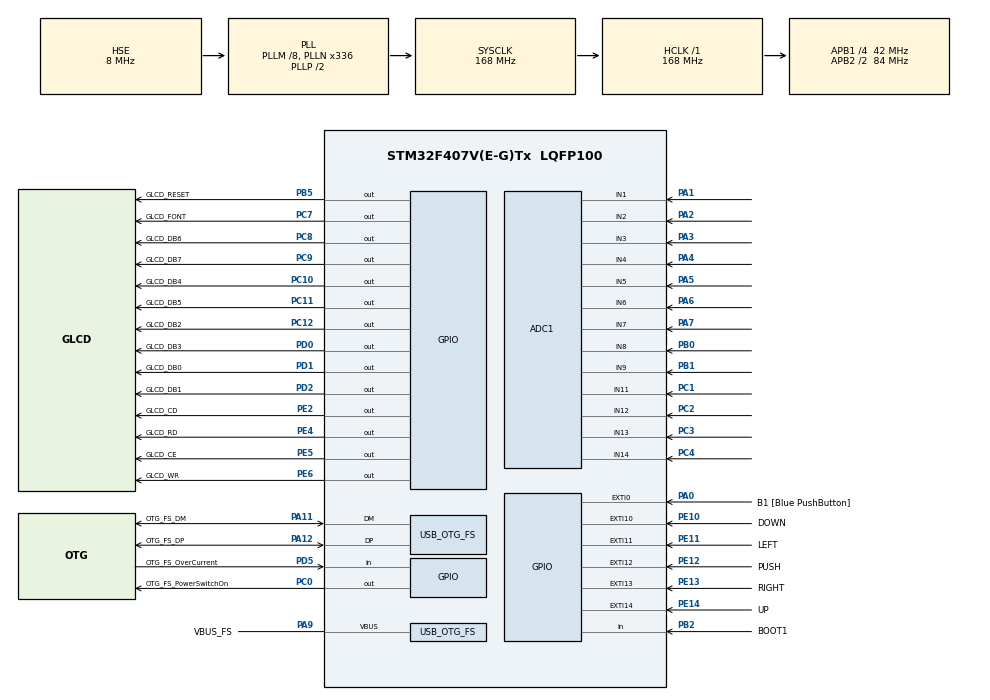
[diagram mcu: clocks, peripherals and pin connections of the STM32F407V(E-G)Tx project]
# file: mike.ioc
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ADC1.Channel-0\#ChannelRegularConversion=ADC_CHANNEL_1
ADC1.Channel-1\#ChannelRegularConversion=ADC_CHANNEL_2
ADC1.Channel-10\#ChannelRegularConversion=ADC_CHANNEL_12
ADC1.Channel-11\#ChannelRegularConversion=ADC_CHANNEL_13
ADC1.Channel-12\#ChannelRegularConversion=ADC_CHANNEL_14
ADC1.Channel-2\#ChannelRegularConversion=ADC_CHANNEL_3
ADC1.Channel-3\#ChannelRegularConversion=ADC_CHANNEL_4
ADC1.Channel-4\#ChannelRegularConversion=ADC_CHANNEL_5
ADC1.Channel-5\#ChannelRegularConversion=ADC_CHANNEL_6
ADC1.Channel-6\#ChannelRegularConversion=ADC_CHANNEL_7
ADC1.Channel-7\#ChannelRegularConversion=ADC_CHANNEL_8
ADC1.Channel-8\#ChannelRegularConversion=ADC_CHANNEL_9
ADC1.Channel-9\#ChannelRegularConversion=ADC_CHANNEL_11
ADC1.ContinuousConvMode=DISABLE
ADC1.DMAContinuousRequests=ENABLE
ADC1.EOCSelection=ADC_EOC_SEQ_CONV
ADC1.EnableAnalogWatchDog=false
ADC1.NbrOfConversion=13
ADC1.NbrOfConversionFlag=1
ADC1.Rank-0\#ChannelRegularConversion=1
ADC1.Rank-1\#ChannelRegularConversion=2
ADC1.Rank-10\#ChannelRegularConversion=11
ADC1.Rank-11\#ChannelRegularConversion=12
ADC1.Rank-12\#ChannelRegularConversion=13
ADC1.Rank-2\#ChannelRegularConversion=3
ADC1.Rank-3\#ChannelRegularConversion=4
ADC1.Rank-4\#ChannelRegularConversion=5
ADC1.Rank-5\#ChannelRegularConversion=6
ADC1.Rank-6\#ChannelRegularConversion=7
ADC1.Rank-7\#ChannelRegularConversion=8
ADC1.Rank-8\#ChannelRegularConversion=9
ADC1.Rank-9\#ChannelRegularConversion=10
ADC1.SamplingTime-0\#ChannelRegularConversion=ADC_SAMPLETIME_480CYCLES
ADC1.SamplingTime-1\#ChannelRegularConversion=ADC_SAMPLETIME_480CYCLES
ADC1.SamplingTime-10\#ChannelRegularConversion=ADC_SAMPLETIME_480CYCLES
ADC1.SamplingTime-11\#ChannelRegularConversion=ADC_SAMPLETIME_480CYCLES
ADC1.SamplingTime-12\#ChannelRegularConversion=ADC_SAMPLETIME_480CYCLES
ADC1.SamplingTime-2\#ChannelRegularConversion=ADC_SAMPLETIME_480CYCLES
ADC1.SamplingTime-3\#ChannelRegularConversion=ADC_SAMPLETIME_480CYCLES
ADC1.SamplingTime-4\#ChannelRegularConversion=ADC_SAMPLETIME_480CYCLES
ADC1.SamplingTime-5\#ChannelRegularConversion=ADC_SAMPLETIME_480CYCLES
ADC1.SamplingTime-6\#ChannelRegularConversion=ADC_SAMPLETIME_480CYCLES
ADC1.SamplingTime-7\#ChannelRegularConversion=ADC_SAMPLETIME_480CYCLES
ADC1.SamplingTime-8\#ChannelRegularConversion=ADC_SAMPLETIME_480CYCLES
ADC1.SamplingTime-9\#ChannelRegularConversion=ADC_SAMPLETIME_480CYCLES
ADC1.ScanConvMode=ENABLE
ADC1.master=1
Dma.ADC1.0.Direction=DMA_PERIPH_TO_MEMORY
Dma.ADC1.0.FIFOMode=DMA_FIFOMODE_DISABLE
Dma.ADC1.0.Instance=DMA2_Stream0
Dma.ADC1.0.MemDataAlignment=DMA_MDATAALIGN_HALFWORD
Dma.ADC1.0.MemInc=DMA_MINC_ENABLE
Dma.ADC1.0.Mode=DMA_NORMAL
Dma.ADC1.0.PeriphDataAlignment=DMA_PDATAALIGN_HALFWORD
Dma.ADC1.0.PeriphInc=DMA_PINC_DISABLE
Dma.ADC1.0.Priority=DMA_PRIORITY_LOW
Dma.Request0=ADC1
Mcu.Family=STM32F4
Mcu.Name=STM32F407V(E-G)Tx
Mcu.Package=LQFP100
NVIC.DMA2_Stream0_IRQn=true\:0\:1\:true\:false\:true\:false\:true\:true
NVIC.EXTI15_10_IRQn=true\:3\:0\:true\:false\:true\:true\:true\:true
NVIC.OTG_FS_IRQn=true\:0\:2\:true\:false\:true\:true\:true\:true
NVIC.PriorityGroup=NVIC_PRIORITYGROUP_2
NVIC.TIM2_IRQn=true\:2\:0\:true\:false\:true\:true\:true\:true
NVIC.TIM3_IRQn=true\:3\:1\:true\:false\:true\:true\:true\:true
NVIC.TIM6_DAC_IRQn=true\:1\:0\:true\:false\:true\:true\:true\:true
PA0-WKUP.GPIO_Label=B1 [Blue PushButton]
PA0-WKUP.GPIO_ModeDefaultEXTI=GPIO_MODE_EVT_RISING
PA0-WKUP.GPIO_PuPd=GPIO_NOPULL
PA0-WKUP.Signal=GPXTI0
PA1.Signal=ADCx_IN1
PA10.GPIO_Label=OTG_FS_ID
PA10.GPIO_Mode=GPIO_MODE_AF_PP
PA10.GPIO_PuPd=GPIO_NOPULL
PA10.GPIO_Speed=GPIO_SPEED_FREQ_LOW
PA10.Signal=USB_OTG_FS_ID
PA11.GPIO_Label=OTG_FS_DM
PA11.GPIO_Mode=GPIO_MODE_AF_PP
PA11.GPIO_PuPd=GPIO_NOPULL
PA11.GPIO_Speed=GPIO_SPEED_FREQ_LOW
PA11.Mode=Host_Only
PA11.Signal=USB_OTG_FS_DM
PA12.GPIO_Label=OTG_FS_DP
PA12.GPIO_Mode=GPIO_MODE_AF_PP
PA12.GPIO_PuPd=GPIO_NOPULL
PA12.GPIO_Speed=GPIO_SPEED_FREQ_LOW
PA12.Mode=Host_Only
PA12.Signal=USB_OTG_FS_DP
PA13.GPIO_Label=SWDIO
PA13.Mode=Serial_Wire
PA13.Signal=SYS_JTMS-SWDIO
PA14.GPIO_Label=SWCLK
PA14.Mode=Serial_Wire
PA14.Signal=SYS_JTCK-SWCLK
PA2.Signal=ADCx_IN2
PA3.Signal=ADCx_IN3
PA4.Signal=ADCx_IN4
PA5.Signal=ADCx_IN5
PA6.Signal=ADCx_IN6
PA7.Signal=ADCx_IN7
PA9.GPIO_Label=VBUS_FS
PA9.GPIO_Mode=GPIO_MODE_INPUT
PA9.GPIO_PuPd=GPIO_NOPULL
PA9.Mode=Activate_VBUS
PA9.Signal=USB_OTG_FS_VBUS
PB0.Signal=ADCx_IN8
PB1.Signal=ADCx_IN9
PB10.Signal=I2C2_SCL
PB11.Signal=I2C2_SDA
PB12.Signal=SPI2_NSS
PB13.Signal=SPI2_SCK
PB14.Signal=SPI2_MISO
PB15.Signal=SPI2_MOSI
PB2.GPIO_Label=BOOT1
PB2.GPIO_Mode=GPIO_MODE_INPUT
PB2.GPIO_PuPd=GPIO_NOPULL
PB2.Signal=GPIO_Input
PB3.GPIO_Label=SWO
PB3.Signal=SYS_JTDO-SWO
PB5.GPIO_Label=GLCD_RESET
PB5.Signal=GPIO_Output
PC0.GPIO_Label=OTG_FS_PowerSwitchOn
PC0.GPIO_PuPd=GPIO_NOPULL
PC0.GPIO_Speed=GPIO_SPEED_FREQ_LOW
PC0.PinState=GPIO_PIN_SET
PC0.Signal=GPIO_Output
PC1.Signal=ADCx_IN11
PC10.GPIO_Label=GLCD_DB4
PC10.Signal=GPIO_Output
PC11.GPIO_Label=GLCD_DB5
PC11.Signal=GPIO_Output
PC12.GPIO_Label=GLCD_DB2
PC12.Signal=GPIO_Output
PC14-OSC32_IN.GPIO_Label=PC14-OSC32_IN
PC14-OSC32_IN.Mode=LSE-External-Oscillator
PC14-OSC32_IN.Signal=RCC_OSC32_IN
PC15-OSC32_OUT.GPIO_Label=PC15-OSC32_OUT
PC15-OSC32_OUT.Mode=LSE-External-Oscillator
PC15-OSC32_OUT.Signal=RCC_OSC32_OUT
PC2.Signal=ADCx_IN12
PC3.Signal=ADCx_IN13
PC4.Signal=ADCx_IN14
PC7.GPIO_Label=GLCD_FONT
PC7.Signal=GPIO_Output
PC8.GPIO_Label=GLCD_DB6
PC8.Signal=GPIO_Output
PC9.GPIO_Label=GLCD_DB7
PC9.Signal=GPIO_Output
PD0.GPIO_Label=GLCD_DB3
PD0.Signal=GPIO_Output
PD1.GPIO_Label=GLCD_DB0
PD1.Signal=GPIO_Output
PD2.GPIO_Label=GLCD_DB1
PD2.Signal=GPIO_Output
PD5.GPIO_Label=OTG_FS_OverCurrent
PD5.GPIO_Mode=GPIO_MODE_INPUT
PD5.GPIO_PuPd=GPIO_NOPULL
PD5.Signal=GPIO_Input
PE10.GPIO_Label=DOWN
PE10.GPIO_PuPd=GPIO_PULLUP
PE10.Signal=GPXTI10
PE11.GPIO_Label=LEFT
PE11.GPIO_PuPd=GPIO_PULLUP
PE11.Signal=GPXTI11
PE12.GPIO_Label=PUSH
PE12.GPIO_PuPd=GPIO_PULLUP
PE12.Signal=GPXTI12
PE13.GPIO_Label=RIGHT
PE13.GPIO_PuPd=GPIO_PULLUP
PE13.Signal=GPXTI13
PE14.GPIO_Label=UP
PE14.GPIO_PuPd=GPIO_PULLUP
PE14.Signal=GPXTI14
PE2.GPIO_Label=GLCD_CD
PE2.Signal=GPIO_Output
PE4.GPIO_Label=GLCD_RD
PE4.PinState=GPIO_PIN_SET
PE4.Signal=GPIO_Output
PE5.GPIO_Label=GLCD_CE
PE5.Signal=GPIO_Output
PE6.GPIO_Label=GLCD_WR
PE6.Signal=GPIO_Output
PH0-OSC_IN.GPIO_Label=PH0-OSC_IN
PH0-OSC_IN.Mode=HSE-External-Oscillator
PH0-OSC_IN.Signal=RCC_OSC_IN
PH1-OSC_OUT.GPIO_Label=PH1-OSC_OUT
PH1-OSC_OUT.Mode=HSE-External-Oscillator
PH1-OSC_OUT.Signal=RCC_OSC_OUT
ProjectManager.HeapSize=0x200
ProjectManager.StackSize=0x400
ProjectManager.TargetToolchain=STM32CubeIDE
RCC.48MHZClocksFreq_Value=48000000
RCC.AHBFreq_Value=168000000
RCC.APB1CLKDivider=RCC_HCLK_DIV4
RCC.APB1Freq_Value=42000000
RCC.APB1TimFreq_Value=84000000
RCC.APB2CLKDivider=RCC_HCLK_DIV2
RCC.APB2Freq_Value=84000000
RCC.APB2TimFreq_Value=168000000
RCC.CortexFreq_Value=168000000
RCC.HCLKFreq_Value=168000000
RCC.HSE_VALUE=8000000
RCC.HSI_VALUE=16000000
RCC.PLLM=8
RCC.PLLN=336
RCC.PLLQ=7
RCC.SYSCLKFreq_VALUE=168000000
RCC.SYSCLKSource=RCC_SYSCLKSOURCE_PLLCLK
RCC.VCOOutputFreq_Value=336000000
SH.ADCx_IN1.0=ADC1_IN1,IN1
SH.ADCx_IN11.0=ADC1_IN11,IN11
SH.ADCx_IN12.0=ADC1_IN12,IN12
SH.ADCx_IN13.0=ADC1_IN13,IN13
SH.ADCx_IN14.0=ADC1_IN14,IN14
SH.ADCx_IN2.0=ADC1_IN2,IN2
SH.ADCx_IN3.0=ADC1_IN3,IN3
SH.ADCx_IN4.0=ADC1_IN4,IN4
SH.ADCx_IN5.0=ADC1_IN5,IN5
SH.ADCx_IN6.0=ADC1_IN6,IN6
SH.ADCx_IN7.0=ADC1_IN7,IN7
SH.ADCx_IN8.0=ADC1_IN8,IN8
SH.ADCx_IN9.0=ADC1_IN9,IN9
TIM2.Period=300000
TIM2.Prescaler=8400-1
TIM3.Period=1000
TIM3.Prescaler=8400-1
TIM6.Period=1000
TIM6.Prescaler=8400-1
USB_HOST.BSP.number=1
USB_HOST.USBH_HandleTypeDef-MSC_FS=hUsbHostFS
USB_HOST.VirtualModeFS=Msc
USB_HOST0.BSP.STBoard=false
USB_HOST0.BSP.api=Unknown
USB_HOST0.BSP.instance=PC0
USB_HOST0.BSP.ip=GPIO
USB_HOST0.BSP.mode=Output
USB_HOST0.BSP.name=Drive_VBUS_FS
USB_HOST0.BSP.solution=PC0
USB_OTG_FS.VirtualMode=Host_Only
USB_OTG_FS.phy_itface=HCD_PHY_EMBEDDED
USB_OTG_FS.speed=HCD_SPEED_LOW
VP_FATFS_VS_USB.Mode=USB
VP_TIM2_VS_ClockSourceINT.Mode=Internal
VP_TIM3_VS_ClockSourceINT.Mode=Internal
VP_TIM6_VS_ClockSourceINT.Mode=Enable_Timer
VP_USB_HOST_VS_USB_HOST_MSC_FS.Mode=MSC_FS
board=STM32F407G-DISC1

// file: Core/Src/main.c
/* USER CODE BEGIN Header */
/**
  ******************************************************************************
  * @file           : main.c
  * @brief          : Main program body
  ******************************************************************************
  * @attention
  *
  * <h2><center>&copy; Copyright (c) 2020 STMicroelectronics.
  * All rights reserved.</center></h2>
  *
  * This software component is licensed by ST under Ultimate Liberty license
  * SLA0044, the "License"; You may not use this file except in compliance with
  * the License. You may obtain a copy of the License at:
  *                             www.st.com/SLA0044
  *
  ******************************************************************************
  */
/* USER CODE END Header */
#include "main.h"
#include "fatfs.h"
#include "usb_host.h"

/* USER CODE BEGIN Includes */
#include "adc.h"
#include "clock.h"
#include "debug.h"
#include "lcd.h"
#include "measure.h"
#include "measure_period.h"
#include "tim.h"
#include "usb.h"

/* USER CODE END Includes */

ADC_HandleTypeDef hadc1;
DMA_HandleTypeDef hdma_adc1;

TIM_HandleTypeDef htim2;
TIM_HandleTypeDef htim3;
TIM_HandleTypeDef htim6;

void SystemClock_Config(void);
static void MX_GPIO_Init(void);
static void MX_DMA_Init(void);
static void MX_ADC1_Init(void);
static void MX_TIM6_Init(void);
static void MX_TIM2_Init(void);
static void MX_TIM3_Init(void);
void MX_USB_HOST_Process(void);

int main(void)
{

  /* MCU Configuration--------------------------------------------------------*/

  /* Reset of all peripherals, Initializes the Flash interface and the Systick. */
  HAL_Init();

  /* Configure the system clock */
  SystemClock_Config();

  /* Initialize all configured peripherals */
  MX_GPIO_Init();
  MX_DMA_Init();
  MX_USB_HOST_Init();
  MX_ADC1_Init();
  MX_TIM6_Init();
  MX_FATFS_Init();
  MX_TIM2_Init();
  MX_TIM3_Init();
  /* USER CODE BEGIN 2 */
  lcd_draw();
  HAL_TIM_Base_Start_IT(&htim2);
  HAL_TIM_Base_Start_IT(&htim3);
  /* USER CODE END 2 */

  /* Infinite loop */
  while (1)
  {
    MX_USB_HOST_Process();

    /* USER CODE BEGIN 3 */
    tim_start_irq();
 	adc_transfer_data_to_buffer();
 	usb_statemachine();

 	if(!measure_mode_status_get_changed())
 	{
		// Pause
		if(!measure_get_mode_pause())
		{
			// TODO testen
			HAL_TIM_Base_Stop_IT(&htim6);
			measure_period_reset_status();
			measure_mode_status_update();
		}
		// Stop
		else if(!measure_get_mode_stop())
		{
			// TODO testen
			HAL_TIM_Base_Stop_IT(&htim6);
			adc_stop();
			usb_stop();
			lcd_stop();
			clock_reset();
			debug_reset_counter();
			measure_period_reset_status();
			measure_mode_status_update();
		}
 	}
  }
  /* USER CODE END 3 */
}

void SystemClock_Config(void)
{
  RCC_OscInitTypeDef RCC_OscInitStruct = {0};
  RCC_ClkInitTypeDef RCC_ClkInitStruct = {0};

  /** Configure the main internal regulator output voltage
  */
  __HAL_RCC_PWR_CLK_ENABLE();
  __HAL_PWR_VOLTAGESCALING_CONFIG(PWR_REGULATOR_VOLTAGE_SCALE1);

  /** Initializes the RCC Oscillators according to the specified parameters
  * in the RCC_OscInitTypeDef structure.
  */
  RCC_OscInitStruct.OscillatorType = RCC_OSCILLATORTYPE_HSE;
  RCC_OscInitStruct.HSEState = RCC_HSE_ON;
  RCC_OscInitStruct.PLL.PLLState = RCC_PLL_ON;
  RCC_OscInitStruct.PLL.PLLSource = RCC_PLLSOURCE_HSE;
  RCC_OscInitStruct.PLL.PLLM = 8;
  RCC_OscInitStruct.PLL.PLLN = 336;
  RCC_OscInitStruct.PLL.PLLP = RCC_PLLP_DIV2;
  RCC_OscInitStruct.PLL.PLLQ = 7;
  if (HAL_RCC_OscConfig(&RCC_OscInitStruct) != HAL_OK)
  {
    Error_Handler();
  }

  /** Initializes the CPU, AHB and APB buses clocks
  */
  RCC_ClkInitStruct.ClockType = RCC_CLOCKTYPE_HCLK|RCC_CLOCKTYPE_SYSCLK
                              |RCC_CLOCKTYPE_PCLK1|RCC_CLOCKTYPE_PCLK2;
  RCC_ClkInitStruct.SYSCLKSource = RCC_SYSCLKSOURCE_PLLCLK;
  RCC_ClkInitStruct.AHBCLKDivider = RCC_SYSCLK_DIV1;
  RCC_ClkInitStruct.APB1CLKDivider = RCC_HCLK_DIV4;
  RCC_ClkInitStruct.APB2CLKDivider = RCC_HCLK_DIV2;

  if (HAL_RCC_ClockConfig(&RCC_ClkInitStruct, FLASH_LATENCY_5) != HAL_OK)
  {
    Error_Handler();
  }
}

static void MX_ADC1_Init(void)
{

  ADC_ChannelConfTypeDef sConfig = {0};

  /** Configure the global features of the ADC (Clock, Resolution, Data Alignment and number of conversion)
  */
  hadc1.Instance = ADC1;
  hadc1.Init.ClockPrescaler = ADC_CLOCK_SYNC_PCLK_DIV4;
  hadc1.Init.Resolution = ADC_RESOLUTION_12B;
  hadc1.Init.ScanConvMode = ENABLE;
  hadc1.Init.ContinuousConvMode = DISABLE;
  hadc1.Init.DiscontinuousConvMode = DISABLE;
  hadc1.Init.ExternalTrigConvEdge = ADC_EXTERNALTRIGCONVEDGE_NONE;
  hadc1.Init.ExternalTrigConv = ADC_SOFTWARE_START;
  hadc1.Init.DataAlign = ADC_DATAALIGN_RIGHT;
  hadc1.Init.NbrOfConversion = 13;
  hadc1.Init.DMAContinuousRequests = ENABLE;
  hadc1.Init.EOCSelection = ADC_EOC_SEQ_CONV;
  if (HAL_ADC_Init(&hadc1) != HAL_OK)
  {
    Error_Handler();
  }

  /** Configure for the selected ADC regular channel its corresponding rank in the sequencer and its sample time.
  */
  sConfig.Channel = ADC_CHANNEL_1;
  sConfig.Rank = 1;
  sConfig.SamplingTime = ADC_SAMPLETIME_480CYCLES;
  if (HAL_ADC_ConfigChannel(&hadc1, &sConfig) != HAL_OK)
  {
    Error_Handler();
  }

  /** Configure for the selected ADC regular channel its corresponding rank in the sequencer and its sample time.
  */
  sConfig.Channel = ADC_CHANNEL_2;
  sConfig.Rank = 2;
  if (HAL_ADC_ConfigChannel(&hadc1, &sConfig) != HAL_OK)
  {
    Error_Handler();
  }

  /** Configure for the selected ADC regular channel its corresponding rank in the sequencer and its sample time.
  */
  sConfig.Channel = ADC_CHANNEL_3;
  sConfig.Rank = 3;
  if (HAL_ADC_ConfigChannel(&hadc1, &sConfig) != HAL_OK)
  {
    Error_Handler();
  }

  /** Configure for the selected ADC regular channel its corresponding rank in the sequencer and its sample time.
  */
  sConfig.Channel = ADC_CHANNEL_4;
  sConfig.Rank = 4;
  if (HAL_ADC_ConfigChannel(&hadc1, &sConfig) != HAL_OK)
  {
    Error_Handler();
  }

  /** Configure for the selected ADC regular channel its corresponding rank in the sequencer and its sample time.
  */
  sConfig.Channel = ADC_CHANNEL_5;
  sConfig.Rank = 5;
  if (HAL_ADC_ConfigChannel(&hadc1, &sConfig) != HAL_OK)
  {
    Error_Handler();
  }

  /** Configure for the selected ADC regular channel its corresponding rank in the sequencer and its sample time.
  */
  sConfig.Channel = ADC_CHANNEL_6;
  sConfig.Rank = 6;
  if (HAL_ADC_ConfigChannel(&hadc1, &sConfig) != HAL_OK)
  {
    Error_Handler();
  }

  /** Configure for the selected ADC regular channel its corresponding rank in the sequencer and its sample time.
  */
  sConfig.Channel = ADC_CHANNEL_7;
  sConfig.Rank = 7;
  if (HAL_ADC_ConfigChannel(&hadc1, &sConfig) != HAL_OK)
  {
    Error_Handler();
  }

  /** Configure for the selected ADC regular channel its corresponding rank in the sequencer and its sample time.
  */
  sConfig.Channel = ADC_CHANNEL_8;
  sConfig.Rank = 8;
  if (HAL_ADC_ConfigChannel(&hadc1, &sConfig) != HAL_OK)
  {
    Error_Handler();
  }

  /** Configure for the selected ADC regular channel its corresponding rank in the sequencer and its sample time.
  */
  sConfig.Channel = ADC_CHANNEL_9;
  sConfig.Rank = 9;
  if (HAL_ADC_ConfigChannel(&hadc1, &sConfig) != HAL_OK)
  {
    Error_Handler();
  }

  /** Configure for the selected ADC regular channel its corresponding rank in the sequencer and its sample time.
  */
  sConfig.Channel = ADC_CHANNEL_11;
  sConfig.Rank = 10;
  if (HAL_ADC_ConfigChannel(&hadc1, &sConfig) != HAL_OK)
  {
    Error_Handler();
  }

  /** Configure for the selected ADC regular channel its corresponding rank in the sequencer and its sample time.
  */
  sConfig.Channel = ADC_CHANNEL_12;
  sConfig.Rank = 11;
  if (HAL_ADC_ConfigChannel(&hadc1, &sConfig) != HAL_OK)
  {
    Error_Handler();
  }

  /** Configure for the selected ADC regular channel its corresponding rank in the sequencer and its sample time.
  */
  sConfig.Channel = ADC_CHANNEL_13;
  sConfig.Rank = 12;
  if (HAL_ADC_ConfigChannel(&hadc1, &sConfig) != HAL_OK)
  {
    Error_Handler();
  }

  /** Configure for the selected ADC regular channel its corresponding rank in the sequencer and its sample time.
  */
  sConfig.Channel = ADC_CHANNEL_14;
  sConfig.Rank = 13;
  if (HAL_ADC_ConfigChannel(&hadc1, &sConfig) != HAL_OK)
  {
    Error_Handler();
  }

}

static void MX_TIM2_Init(void)
{

  TIM_ClockConfigTypeDef sClockSourceConfig = {0};
  TIM_MasterConfigTypeDef sMasterConfig = {0};

  htim2.Instance = TIM2;
  htim2.Init.Prescaler = 8400-1;
  htim2.Init.CounterMode = TIM_COUNTERMODE_UP;
  htim2.Init.Period = 300000;
  htim2.Init.ClockDivision = TIM_CLOCKDIVISION_DIV1;
  htim2.Init.AutoReloadPreload = TIM_AUTORELOAD_PRELOAD_DISABLE;
  if (HAL_TIM_Base_Init(&htim2) != HAL_OK)
  {
    Error_Handler();
  }
  sClockSourceConfig.ClockSource = TIM_CLOCKSOURCE_INTERNAL;
  if (HAL_TIM_ConfigClockSource(&htim2, &sClockSourceConfig) != HAL_OK)
  {
    Error_Handler();
  }
  sMasterConfig.MasterOutputTrigger = TIM_TRGO_RESET;
  sMasterConfig.MasterSlaveMode = TIM_MASTERSLAVEMODE_DISABLE;
  if (HAL_TIMEx_MasterConfigSynchronization(&htim2, &sMasterConfig) != HAL_OK)
  {
    Error_Handler();
  }

}

static void MX_TIM3_Init(void)
{

  TIM_ClockConfigTypeDef sClockSourceConfig = {0};
  TIM_MasterConfigTypeDef sMasterConfig = {0};

  htim3.Instance = TIM3;
  htim3.Init.Prescaler = 8400-1;
  htim3.Init.CounterMode = TIM_COUNTERMODE_UP;
  htim3.Init.Period = 1000;
  htim3.Init.ClockDivision = TIM_CLOCKDIVISION_DIV1;
  htim3.Init.AutoReloadPreload = TIM_AUTORELOAD_PRELOAD_DISABLE;
  if (HAL_TIM_Base_Init(&htim3) != HAL_OK)
  {
    Error_Handler();
  }
  sClockSourceConfig.ClockSource = TIM_CLOCKSOURCE_INTERNAL;
  if (HAL_TIM_ConfigClockSource(&htim3, &sClockSourceConfig) != HAL_OK)
  {
    Error_Handler();
  }
  sMasterConfig.MasterOutputTrigger = TIM_TRGO_RESET;
  sMasterConfig.MasterSlaveMode = TIM_MASTERSLAVEMODE_DISABLE;
  if (HAL_TIMEx_MasterConfigSynchronization(&htim3, &sMasterConfig) != HAL_OK)
  {
    Error_Handler();
  }

}

static void MX_TIM6_Init(void)
{

  TIM_MasterConfigTypeDef sMasterConfig = {0};

  htim6.Instance = TIM6;
  htim6.Init.Prescaler = 8400-1;
  htim6.Init.CounterMode = TIM_COUNTERMODE_UP;
  htim6.Init.Period = 1000;
  htim6.Init.AutoReloadPreload = TIM_AUTORELOAD_PRELOAD_DISABLE;
  if (HAL_TIM_Base_Init(&htim6) != HAL_OK)
  {
    Error_Handler();
  }
  sMasterConfig.MasterOutputTrigger = TIM_TRGO_RESET;
  sMasterConfig.MasterSlaveMode = TIM_MASTERSLAVEMODE_DISABLE;
  if (HAL_TIMEx_MasterConfigSynchronization(&htim6, &sMasterConfig) != HAL_OK)
  {
    Error_Handler();
  }

}

static void MX_DMA_Init(void)
{

  /* DMA controller clock enable */
  __HAL_RCC_DMA2_CLK_ENABLE();

  /* DMA interrupt init */
  /* DMA2_Stream0_IRQn interrupt configuration */
  HAL_NVIC_SetPriority(DMA2_Stream0_IRQn, 0, 1);
  HAL_NVIC_EnableIRQ(DMA2_Stream0_IRQn);

}

static void MX_GPIO_Init(void)
{
  GPIO_InitTypeDef GPIO_InitStruct = {0};

  /* GPIO Ports Clock Enable */
  __HAL_RCC_GPIOE_CLK_ENABLE();
  __HAL_RCC_GPIOC_CLK_ENABLE();
  __HAL_RCC_GPIOH_CLK_ENABLE();
  __HAL_RCC_GPIOA_CLK_ENABLE();
  __HAL_RCC_GPIOB_CLK_ENABLE();
  __HAL_RCC_GPIOD_CLK_ENABLE();

  /*Configure GPIO pin Output Level */
  HAL_GPIO_WritePin(GPIOE, GLCD_CD_Pin|GLCD_CE_Pin|GLCD_WR_Pin, GPIO_PIN_RESET);

  /*Configure GPIO pin Output Level */
  HAL_GPIO_WritePin(GLCD_RD_GPIO_Port, GLCD_RD_Pin, GPIO_PIN_SET);

  /*Configure GPIO pin Output Level */
  HAL_GPIO_WritePin(OTG_FS_PowerSwitchOn_GPIO_Port, OTG_FS_PowerSwitchOn_Pin, GPIO_PIN_SET);

  /*Configure GPIO pin Output Level */
  HAL_GPIO_WritePin(GPIOC, GLCD_FONT_Pin|GLCD_DB6_Pin|GLCD_DB7_Pin|GLCD_DB4_Pin
                          |GLCD_DB5_Pin|GLCD_DB2_Pin, GPIO_PIN_RESET);

  /*Configure GPIO pin Output Level */
  HAL_GPIO_WritePin(GPIOD, GLCD_DB3_Pin|GLCD_DB0_Pin|GLCD_DB1_Pin, GPIO_PIN_RESET);

  /*Configure GPIO pin Output Level */
  HAL_GPIO_WritePin(GLCD_RESET_GPIO_Port, GLCD_RESET_Pin, GPIO_PIN_RESET);

  /*Configure GPIO pins : GLCD_CD_Pin GLCD_RD_Pin GLCD_CE_Pin GLCD_WR_Pin */
  GPIO_InitStruct.Pin = GLCD_CD_Pin|GLCD_RD_Pin|GLCD_CE_Pin|GLCD_WR_Pin;
  GPIO_InitStruct.Mode = GPIO_MODE_OUTPUT_PP;
  GPIO_InitStruct.Pull = GPIO_NOPULL;
  GPIO_InitStruct.Speed = GPIO_SPEED_FREQ_LOW;
  HAL_GPIO_Init(GPIOE, &GPIO_InitStruct);

  /*Configure GPIO pins : OTG_FS_PowerSwitchOn_Pin GLCD_FONT_Pin GLCD_DB6_Pin GLCD_DB7_Pin
                           GLCD_DB4_Pin GLCD_DB5_Pin GLCD_DB2_Pin */
  GPIO_InitStruct.Pin = OTG_FS_PowerSwitchOn_Pin|GLCD_FONT_Pin|GLCD_DB6_Pin|GLCD_DB7_Pin
                          |GLCD_DB4_Pin|GLCD_DB5_Pin|GLCD_DB2_Pin;
  GPIO_InitStruct.Mode = GPIO_MODE_OUTPUT_PP;
  GPIO_InitStruct.Pull = GPIO_NOPULL;
  GPIO_InitStruct.Speed = GPIO_SPEED_FREQ_LOW;
  HAL_GPIO_Init(GPIOC, &GPIO_InitStruct);

  /*Configure GPIO pin : B1_Pin */
  GPIO_InitStruct.Pin = B1_Pin;
  GPIO_InitStruct.Mode = GPIO_MODE_EVT_RISING;
  GPIO_InitStruct.Pull = GPIO_NOPULL;
  HAL_GPIO_Init(B1_GPIO_Port, &GPIO_InitStruct);

  /*Configure GPIO pin : BOOT1_Pin */
  GPIO_InitStruct.Pin = BOOT1_Pin;
  GPIO_InitStruct.Mode = GPIO_MODE_INPUT;
  GPIO_InitStruct.Pull = GPIO_NOPULL;
  HAL_GPIO_Init(BOOT1_GPIO_Port, &GPIO_InitStruct);

  /*Configure GPIO pins : DOWN_Pin LEFT_Pin PUSH_Pin RIGHT_Pin
                           UP_Pin */
  GPIO_InitStruct.Pin = DOWN_Pin|LEFT_Pin|PUSH_Pin|RIGHT_Pin
                          |UP_Pin;
  GPIO_InitStruct.Mode = GPIO_MODE_IT_RISING;
  GPIO_InitStruct.Pull = GPIO_PULLUP;
  HAL_GPIO_Init(GPIOE, &GPIO_InitStruct);

  /*Configure GPIO pins : PB10 PB11 */
  GPIO_InitStruct.Pin = GPIO_PIN_10|GPIO_PIN_11;
  GPIO_InitStruct.Mode = GPIO_MODE_AF_OD;
  GPIO_InitStruct.Pull = GPIO_NOPULL;
  GPIO_InitStruct.Speed = GPIO_SPEED_FREQ_VERY_HIGH;
  GPIO_InitStruct.Alternate = GPIO_AF4_I2C2;
  HAL_GPIO_Init(GPIOB, &GPIO_InitStruct);

  /*Configure GPIO pins : PB12 PB13 PB14 PB15 */
  GPIO_InitStruct.Pin = GPIO_PIN_12|GPIO_PIN_13|GPIO_PIN_14|GPIO_PIN_15;
  GPIO_InitStruct.Mode = GPIO_MODE_AF_PP;
  GPIO_InitStruct.Pull = GPIO_NOPULL;
  GPIO_InitStruct.Speed = GPIO_SPEED_FREQ_VERY_HIGH;
  GPIO_InitStruct.Alternate = GPIO_AF5_SPI2;
  HAL_GPIO_Init(GPIOB, &GPIO_InitStruct);

  /*Configure GPIO pins : GLCD_DB3_Pin GLCD_DB0_Pin GLCD_DB1_Pin */
  GPIO_InitStruct.Pin = GLCD_DB3_Pin|GLCD_DB0_Pin|GLCD_DB1_Pin;
  GPIO_InitStruct.Mode = GPIO_MODE_OUTPUT_PP;
  GPIO_InitStruct.Pull = GPIO_NOPULL;
  GPIO_InitStruct.Speed = GPIO_SPEED_FREQ_LOW;
  HAL_GPIO_Init(GPIOD, &GPIO_InitStruct);

  /*Configure GPIO pin : OTG_FS_OverCurrent_Pin */
  GPIO_InitStruct.Pin = OTG_FS_OverCurrent_Pin;
  GPIO_InitStruct.Mode = GPIO_MODE_INPUT;
  GPIO_InitStruct.Pull = GPIO_NOPULL;
  HAL_GPIO_Init(OTG_FS_OverCurrent_GPIO_Port, &GPIO_InitStruct);

  /*Configure GPIO pin : GLCD_RESET_Pin */
  GPIO_InitStruct.Pin = GLCD_RESET_Pin;
  GPIO_InitStruct.Mode = GPIO_MODE_OUTPUT_PP;
  GPIO_InitStruct.Pull = GPIO_NOPULL;
  GPIO_InitStruct.Speed = GPIO_SPEED_FREQ_LOW;
  HAL_GPIO_Init(GLCD_RESET_GPIO_Port, &GPIO_InitStruct);

  /* EXTI interrupt init*/
  HAL_NVIC_SetPriority(EXTI15_10_IRQn, 3, 0);
  HAL_NVIC_EnableIRQ(EXTI15_10_IRQn);

}

void Error_Handler(void)
{
}
